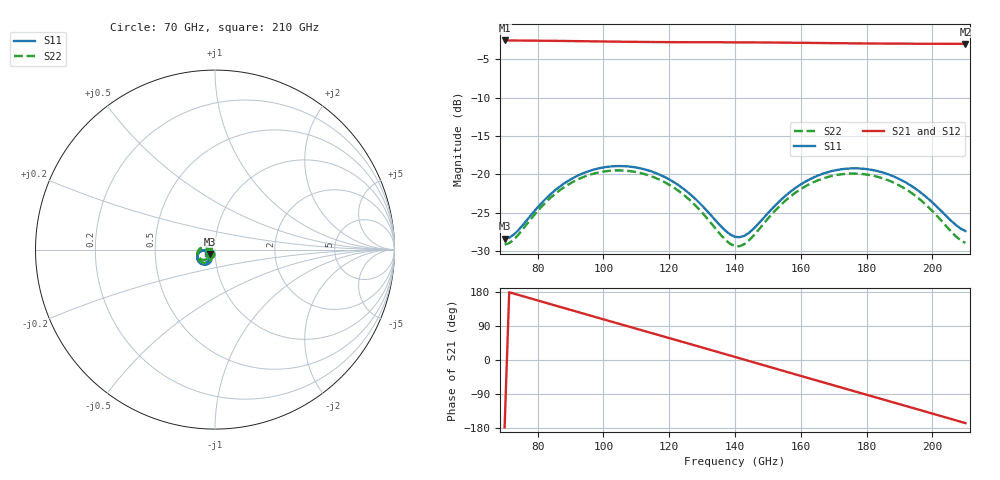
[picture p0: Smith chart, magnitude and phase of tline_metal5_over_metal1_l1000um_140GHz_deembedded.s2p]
! Created with skrf 2.0.1 (http://scikit-rf.org).
# GHz S DB R 50.0
!freq dBS11 angS11 dBS21 angS21 dBS12 angS12 dBS22 angS22
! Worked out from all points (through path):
!   101 points, 70 GHz to 210 GHz, reference 50 ohm
!   highest |S21| = -2.53 dB at 70 GHz (marker M1); lowest = -3.0 dB at 210 GHz (marker M2)
!   group delay of S21, straight-line fit = 6.92 ps
!   lowest |S11| = -28.4 dB at 70 GHz (marker M3), VSWR 1.08, Z = 47.3 - j2.49 ohm
!   |S11| at or under -10 dB: start of sweep to end of sweep
!   |S22| runs from -29.4 to -19.5 dB; largest |S21 - S12| = 1.3e-15
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70  -28.39 -136.2  -2.53 -177.8  -2.53 -177.8  -29.17 -138.7
72.8  -27.85 -123.0  -2.54 175.3  -2.54 175.3  -28.50 -125.4
81.2  -23.74 -109.1  -2.57 154.3  -2.57 154.3  -24.22 -113.2
86.8  -21.58 -113.4  -2.59 140.3  -2.59 140.3  -22.05 -118.5
93.8  -19.86 -123.7  -2.63 122.8  -2.63 122.8  -20.37 -129.9
99.4  -19.14 -133.5  -2.66 108.9  -2.66 108.9  -19.68 -140.4
105  -18.91 -143.7  -2.70 95.0  -2.70 95.0  -19.48 -151.3
110.6  -19.15 -153.7  -2.72 81.1  -2.72 81.1  -19.76 -162.0
117.6  -20.12 -165.1  -2.75 63.8  -2.75 63.8  -20.79 -174.4
128.8  -23.55 -175.9  -2.77 36.0  -2.77 36.0  -24.42 173.4
137.2  -27.39 -164.0  -2.77 15.1  -2.77 15.1  -28.58 -174.1
140  -28.14 -152.6  -2.78 8.1  -2.78 8.1  -29.35 -161.6
144.2  -27.64 -134.1  -2.79 -2.4  -2.79 -2.4  -28.63 -141.9
151.2  -24.50 -120.0  -2.80 -20.0  -2.80 -20.0  -25.18 -129.1
156.8  -22.27 -121.1  -2.83 -34.0  -2.83 -34.0  -22.89 -131.5
163.8  -20.41 -128.7  -2.86 -51.5  -2.86 -51.5  -21.03 -140.5
170.8  -19.44 -139.1  -2.89 -68.9  -2.89 -68.9  -20.08 -152.0
176.4  -19.21 -148.0  -2.91 -82.8  -2.91 -82.8  -19.89 -161.8
187.6  -20.16 -164.8  -2.95 -110.6  -2.95 -110.6  -20.96 179.7
193.2  -21.39 -171.3  -2.96 -124.6  -2.96 -124.6  -22.29 172.4
200.2  -23.75 -174.3  -2.97 -142.0  -2.97 -142.0  -24.88 168.6
210  -27.38 -154.5  -2.98 -166.5  -2.98 -166.5  -28.92 -169.1
